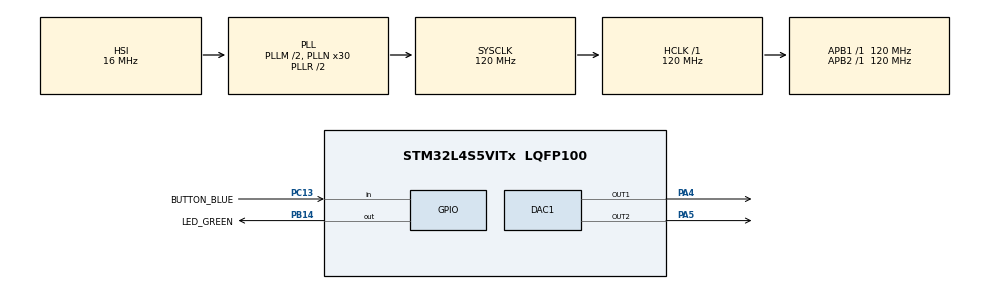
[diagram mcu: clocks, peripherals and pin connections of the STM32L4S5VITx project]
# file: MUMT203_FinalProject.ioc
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Mcu.Family=STM32L4
RCC.MSI_VALUE=1000000
RCC.PLLSourceVirtual=RCC_PLLSOURCE_HSI
RCC.CortexFreq_Value=120000000
DAC1.DAC_Channel-DAC_OUT2=DAC_CHANNEL_2
VP_ADC1_TempSens_Input.Mode=IN-TempSens
ADC1.ContinuousConvMode=ENABLE
SH.COMP_DAC12_group.0=DAC1_OUT2,DAC_OUT2
PC13.Signal=GPIO_Input
PB14.GPIO_Label=LED_GREEN
PC0.GPIO_Label=ADC1
PC0.Signal=ADCx_IN1
PC13.GPIO_Label=BUTTON_BLUE
ADC1.SamplingTime-2\#ChannelRegularConversion=ADC_SAMPLETIME_2CYCLES_5
RCC.SYSCLKSource=RCC_SYSCLKSOURCE_PLLCLK
ProjectManager.StackSize=0x400
ProjectManager.TargetToolchain=STM32CubeIDE
RCC.ADCCLockSelection=RCC_ADCCLKSOURCE_SYSCLK
SH.COMP_DAC11_group.0=DAC1_OUT1,DAC_OUT1
RCC.HCLKFreq_Value=120000000
RCC.APB2TimFreq_Value=120000000
ADC1.Channel-2\#ChannelRegularConversion=ADC_CHANNEL_VREFINT
RCC.USBFreq_Value=320000000
RCC.LSE_VALUE=32768
RCC.AHBFreq_Value=120000000
PB14.Signal=GPIO_Output
PA5.Signal=COMP_DAC12_group
RCC.HSE_VALUE=8000000
board=B-L4S5I-IOT01A
RCC.VCOOutputFreq_Value=240000000
VP_ADC1_Vref_Input.Mode=IN-Vrefint
RCC.APB2Freq_Value=120000000
ADC1.Rank-2\#ChannelRegularConversion=1
RCC.ADCFreq_Value=120000000
ADC1.NbrOfConversion=1
ADC1.OffsetNumber-2\#ChannelRegularConversion=ADC_OFFSET_NONE
Mcu.Name=STM32L4S5VITx
PA4.Signal=COMP_DAC11_group
RCC.SYSCLKFreq_VALUE=120000000
Mcu.Package=LQFP100
RCC.PLLM1=2
ADC1.master=1
ProjectManager.HeapSize=0x200
RCC.HSI_VALUE=16000000
NVIC.PriorityGroup=NVIC_PRIORITYGROUP_4
ADC1.NbrOfConversionFlag=1
SH.ADCx_IN1.0=ADC1_IN1
RCC.PLLN=30
RCC.APB1TimFreq_Value=120000000
RCC.APB1Freq_Value=120000000
RCC.MSIClockRange=RCC_MSIRANGE_4
RCC.HSI48_VALUE=48000000
RCC.PLLSAI1N=40

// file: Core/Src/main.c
/* USER CODE BEGIN Header */
/**
 ******************************************************************************
 * @file           : main.c
 * @brief          : Main program body
 ******************************************************************************
 * @attention
 *
 * <h2><center>&copy; Copyright (c) 2021 STMicroelectronics.
 * All rights reserved.</center></h2>
 *
 * This software component is licensed by ST under BSD 3-Clause license,
 * the "License"; You may not use this file except in compliance with the
 * License. You may obtain a copy of the License at:
 *                        opensource.org/licenses/BSD-3-Clause
 *
 ******************************************************************************
 */
/* USER CODE END Header */
#include "main.h"

/* USER CODE BEGIN Includes */
#include "arm_math.h"
/* USER CODE END Includes */

/* USER CODE BEGIN PTD */

#define S_2000 2000
#define S_1000 1000
#define S_500   500
#define S_250   250

//#define MAX_VALUE 4095    //2^12
//#define HALF_VALUE 2047.5 //(2^12)//2

/* USER CODE END PTD */

ADC_HandleTypeDef hadc1;

DAC_HandleTypeDef hdac1;

void SystemClock_Config(void);
static void MX_GPIO_Init(void);
static void MX_ADC1_Init(void);
static void MX_DAC1_Init(void);

int main(void)
{

  /* MCU Configuration--------------------------------------------------------*/

  /* Reset of all peripherals, Initializes the Flash interface and the Systick. */
  HAL_Init();

  /* Configure the system clock */
  SystemClock_Config();

  /* Initialize all configured peripherals */
  MX_GPIO_Init();
  MX_ADC1_Init();
  MX_DAC1_Init();
  /* USER CODE BEGIN 2 */

	HAL_DAC_Start(&hdac1, DAC_CHANNEL_1);
	HAL_DAC_Start(&hdac1, DAC_CHANNEL_2);

	uint8_t buttonPressed = 0;
	uint8_t isPlaying = 1;

	float sine2000[S_2000];
	float sine1000[S_1000];
	float sine500[S_500];
	float sine250[S_250];

	for (int i=0; i<S_2000; i++)
	{
		sine2000[i] = S_2000 * arm_sin_f32((float)i * (float)(2*PI/S_2000));
	}

	for (int i=0; i<S_1000; i++)
	{
		sine1000[i] = S_1000 * arm_sin_f32((float)i * (float)(2*PI/S_1000));
	}

	for (int i=0; i<S_500; i++)
	{
		sine500[i] = S_500 * arm_sin_f32((float)i * (float)(2*PI/S_500));
	}

	for (int i=0; i<S_250; i++)
	{
		sine250[i] = S_250 * arm_sin_f32((float)i * (float)(2*PI/S_250));
	}

	float sin = 0; // Value to be played

	// indexes
	uint16_t i_2000 = 0;
	uint16_t i_1000 = 0;
	uint16_t i_500  = 0;
	uint16_t i_250  = 0;

	uint16_t sin_to_play = 2000;

  /* USER CODE END 2 */

  /* Infinite loop */
	while (1)
	{

    /* USER CODE BEGIN 3 */

		if(!HAL_GPIO_ReadPin(BUTTON_BLUE_GPIO_Port, BUTTON_BLUE_Pin))
		{
			if(!buttonPressed)
			{
				HAL_GPIO_TogglePin(LED_GREEN_GPIO_Port, LED_GREEN_Pin);
				buttonPressed = 1;
				if (isPlaying == 1){

					HAL_DAC_Stop(&hdac1, DAC_CHANNEL_1);
					HAL_DAC_Stop(&hdac1, DAC_CHANNEL_2);

					// Change waves that will play
					if (sin_to_play != S_250)
					{
						sin_to_play = sin_to_play / 2;
					}
					else
					{
						sin_to_play = S_2000;
					}

					isPlaying = 0;
				}
				else {
					HAL_DAC_Start(&hdac1, DAC_CHANNEL_1);
					HAL_DAC_Start(&hdac1, DAC_CHANNEL_2);
					isPlaying = 1;
				}
			}
		}
		else
		{
			buttonPressed = 0;
		}

		if (isPlaying == 1)
		{
			sin = 0;

			if (sin_to_play < S_2000+1)
			{
				sin = sin + sine2000[i_2000];
				i_2000 = (i_2000+1)%S_2000;

			}
			if (sin_to_play < S_1000+1)
			{
				sin = sin + sine1000[i_1000];
				i_1000 = (i_1000+1)%S_1000;

			}
			if (sin_to_play < S_500+1)
			{
				sin = sin + sine500[i_500];
				i_500 = (i_500+1)%S_500;

			}
			if (sin_to_play < S_250+1)
			{
				sin = sin + sine250[i_250];
				i_250 = (i_250+1)%S_250;

			}

			HAL_DAC_SetValue(&hdac1, DAC_CHANNEL_1, DAC_ALIGN_12B_R, sin);
			HAL_DAC_SetValue(&hdac1, DAC_CHANNEL_2, DAC_ALIGN_12B_R, sin);

		}

	}
  /* USER CODE END 3 */
}

void SystemClock_Config(void)
{
  RCC_OscInitTypeDef RCC_OscInitStruct = {0};
  RCC_ClkInitTypeDef RCC_ClkInitStruct = {0};
  RCC_PeriphCLKInitTypeDef PeriphClkInit = {0};

  /** Configure the main internal regulator output voltage
  */
  if (HAL_PWREx_ControlVoltageScaling(PWR_REGULATOR_VOLTAGE_SCALE1_BOOST) != HAL_OK)
  {
    Error_Handler();
  }
  /** Initializes the RCC Oscillators according to the specified parameters
  * in the RCC_OscInitTypeDef structure.
  */
  RCC_OscInitStruct.OscillatorType = RCC_OSCILLATORTYPE_HSI;
  RCC_OscInitStruct.HSIState = RCC_HSI_ON;
  RCC_OscInitStruct.HSICalibrationValue = RCC_HSICALIBRATION_DEFAULT;
  RCC_OscInitStruct.PLL.PLLState = RCC_PLL_ON;
  RCC_OscInitStruct.PLL.PLLSource = RCC_PLLSOURCE_HSI;
  RCC_OscInitStruct.PLL.PLLM = 2;
  RCC_OscInitStruct.PLL.PLLN = 30;
  RCC_OscInitStruct.PLL.PLLP = RCC_PLLP_DIV2;
  RCC_OscInitStruct.PLL.PLLQ = RCC_PLLQ_DIV2;
  RCC_OscInitStruct.PLL.PLLR = RCC_PLLR_DIV2;
  if (HAL_RCC_OscConfig(&RCC_OscInitStruct) != HAL_OK)
  {
    Error_Handler();
  }
  /** Initializes the CPU, AHB and APB buses clocks
  */
  RCC_ClkInitStruct.ClockType = RCC_CLOCKTYPE_HCLK|RCC_CLOCKTYPE_SYSCLK
                              |RCC_CLOCKTYPE_PCLK1|RCC_CLOCKTYPE_PCLK2;
  RCC_ClkInitStruct.SYSCLKSource = RCC_SYSCLKSOURCE_PLLCLK;
  RCC_ClkInitStruct.AHBCLKDivider = RCC_SYSCLK_DIV1;
  RCC_ClkInitStruct.APB1CLKDivider = RCC_HCLK_DIV1;
  RCC_ClkInitStruct.APB2CLKDivider = RCC_HCLK_DIV1;

  if (HAL_RCC_ClockConfig(&RCC_ClkInitStruct, FLASH_LATENCY_5) != HAL_OK)
  {
    Error_Handler();
  }
  PeriphClkInit.PeriphClockSelection = RCC_PERIPHCLK_ADC;
  PeriphClkInit.AdcClockSelection = RCC_ADCCLKSOURCE_SYSCLK;
  if (HAL_RCCEx_PeriphCLKConfig(&PeriphClkInit) != HAL_OK)
  {
    Error_Handler();
  }
}

static void MX_ADC1_Init(void)
{

  ADC_ChannelConfTypeDef sConfig = {0};

  /** Common config
  */
  hadc1.Instance = ADC1;
  hadc1.Init.ClockPrescaler = ADC_CLOCK_ASYNC_DIV2;
  hadc1.Init.Resolution = ADC_RESOLUTION_12B;
  hadc1.Init.DataAlign = ADC_DATAALIGN_RIGHT;
  hadc1.Init.ScanConvMode = ADC_SCAN_DISABLE;
  hadc1.Init.EOCSelection = ADC_EOC_SINGLE_CONV;
  hadc1.Init.LowPowerAutoWait = DISABLE;
  hadc1.Init.ContinuousConvMode = ENABLE;
  hadc1.Init.NbrOfConversion = 1;
  hadc1.Init.DiscontinuousConvMode = DISABLE;
  hadc1.Init.ExternalTrigConv = ADC_SOFTWARE_START;
  hadc1.Init.ExternalTrigConvEdge = ADC_EXTERNALTRIGCONVEDGE_NONE;
  hadc1.Init.DMAContinuousRequests = DISABLE;
  hadc1.Init.Overrun = ADC_OVR_DATA_PRESERVED;
  hadc1.Init.OversamplingMode = DISABLE;
  if (HAL_ADC_Init(&hadc1) != HAL_OK)
  {
    Error_Handler();
  }
  /** Configure Regular Channel
  */
  sConfig.Channel = ADC_CHANNEL_VREFINT;
  sConfig.Rank = ADC_REGULAR_RANK_1;
  sConfig.SamplingTime = ADC_SAMPLETIME_2CYCLES_5;
  sConfig.SingleDiff = ADC_SINGLE_ENDED;
  sConfig.OffsetNumber = ADC_OFFSET_NONE;
  sConfig.Offset = 0;
  if (HAL_ADC_ConfigChannel(&hadc1, &sConfig) != HAL_OK)
  {
    Error_Handler();
  }

}

static void MX_DAC1_Init(void)
{

  DAC_ChannelConfTypeDef sConfig = {0};

  /** DAC Initialization
  */
  hdac1.Instance = DAC1;
  if (HAL_DAC_Init(&hdac1) != HAL_OK)
  {
    Error_Handler();
  }
  /** DAC channel OUT1 config
  */
  sConfig.DAC_SampleAndHold = DAC_SAMPLEANDHOLD_DISABLE;
  sConfig.DAC_Trigger = DAC_TRIGGER_NONE;
  sConfig.DAC_HighFrequency = DAC_HIGH_FREQUENCY_INTERFACE_MODE_DISABLE;
  sConfig.DAC_OutputBuffer = DAC_OUTPUTBUFFER_ENABLE;
  sConfig.DAC_ConnectOnChipPeripheral = DAC_CHIPCONNECT_DISABLE;
  sConfig.DAC_UserTrimming = DAC_TRIMMING_FACTORY;
  if (HAL_DAC_ConfigChannel(&hdac1, &sConfig, DAC_CHANNEL_1) != HAL_OK)
  {
    Error_Handler();
  }
  /** DAC channel OUT2 config
  */
  sConfig.DAC_ConnectOnChipPeripheral = DAC_CHIPCONNECT_DISABLE;
  if (HAL_DAC_ConfigChannel(&hdac1, &sConfig, DAC_CHANNEL_2) != HAL_OK)
  {
    Error_Handler();
  }

}

static void MX_GPIO_Init(void)
{
  GPIO_InitTypeDef GPIO_InitStruct = {0};

  /* GPIO Ports Clock Enable */
  __HAL_RCC_GPIOC_CLK_ENABLE();
  __HAL_RCC_GPIOA_CLK_ENABLE();
  __HAL_RCC_GPIOB_CLK_ENABLE();

  /*Configure GPIO pin Output Level */
  HAL_GPIO_WritePin(LED_GREEN_GPIO_Port, LED_GREEN_Pin, GPIO_PIN_RESET);

  /*Configure GPIO pin : BUTTON_BLUE_Pin */
  GPIO_InitStruct.Pin = BUTTON_BLUE_Pin;
  GPIO_InitStruct.Mode = GPIO_MODE_INPUT;
  GPIO_InitStruct.Pull = GPIO_NOPULL;
  HAL_GPIO_Init(BUTTON_BLUE_GPIO_Port, &GPIO_InitStruct);

  /*Configure GPIO pin : LED_GREEN_Pin */
  GPIO_InitStruct.Pin = LED_GREEN_Pin;
  GPIO_InitStruct.Mode = GPIO_MODE_OUTPUT_PP;
  GPIO_InitStruct.Pull = GPIO_NOPULL;
  GPIO_InitStruct.Speed = GPIO_SPEED_FREQ_LOW;
  HAL_GPIO_Init(LED_GREEN_GPIO_Port, &GPIO_InitStruct);

}

void Error_Handler(void)
{
	__disable_irq();
	while (1)
	{
	}
}

/************************ (C) COPYRIGHT STMicroelectronics *****END OF FILE****/
